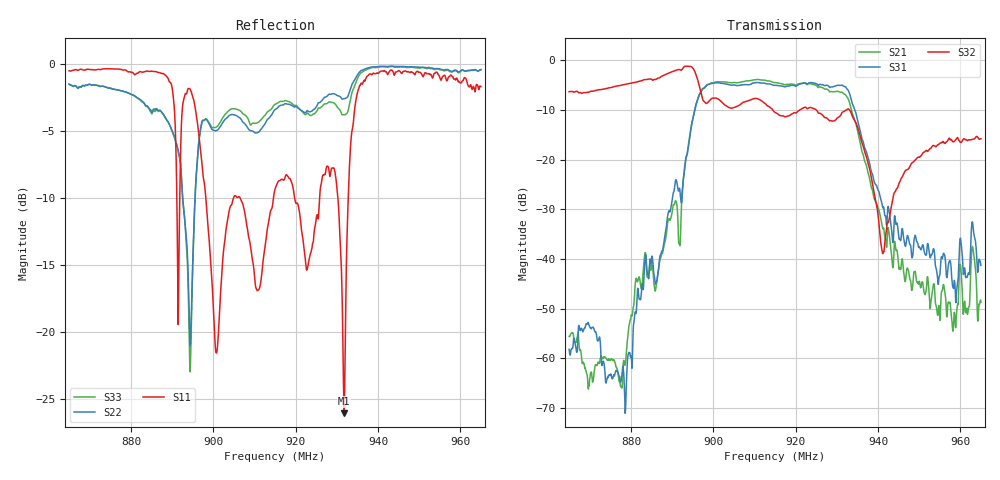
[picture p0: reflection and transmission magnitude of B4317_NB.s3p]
!EPCOS AG 16.05.2012 17:10:27
!Calibration: group1-4 06.03.2011
!NWA IDN: Rohde&Schwarz,ZVT8-4Port,1300000008100235,2.76
!NWA-Port 1: 78.0 ps , NWA-Port 2: 76.0 ps , NWA-Port 3: 76.0 ps ,
! port | pin | signal
!  1  |  1  |  IN
!  2  |  3  |  OUT
!  3  |  4  |  OUT
# Hz S RI R 50
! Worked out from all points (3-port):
!   1601 points, 865 MHz to 965 MHz, reference 50 ohm
!   strongest paths, dB at 865 MHz, 890 MHz, 915 MHz, 940 MHz, 965 MHz:
!     S32: -6.3, -2.3, -10.5, -30.9, -15.8
!     S31: -58.2, -28.3, -5.0, -26.1, -41.3
!     S21: -55.6, -30.7, -4.5, -29.6, -48.7
!   lowest |S11| = -26.0 dB at 931.8 MHz (marker M1), VSWR 1.10, Z = 45.3 - j0.462 ohm
!   |S11| at or under -10 dB: 898.2 MHz to 904.9 MHz (6.718 MHz wide, 0.745 % of centre); 906.5 MHz to 914.6 MHz (8.092 MHz wide, 0.889 % of centre); 919.8 MHz to 925.8 MHz (6.069 MHz wide, 0.658 % of centre) (the widest 3 of 5)
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8.65e8  -0.5453 -0.769  -0.00156 -0.000588  -0.000925 -0.000814
        -0.00155 -0.000592  0.5226 -0.6571  0.3866 0.2878
        -0.000932 -0.000806  0.387 0.2874  0.5346 -0.6487
8.775e8  -0.7493 -0.5909  -0.000528 -8.99e-05  -0.00034 -0.000472
         -0.000518 -9.39e-05  0.4309 -0.6676  0.4739 0.2965
         -0.00034 -0.00047  0.4744 0.2964  0.4432 -0.6598
8.915e8  0.1014 -0.0331  0.0157 0.011  -0.0253 -0.042
         0.0157 0.011  0.0712 -0.4694  0.8045 0.0591
         -0.0252 -0.042  0.8045 0.0589  0.0731 -0.4642
8.94375e8  -0.8037 0.0506  0.0597 0.1708  -0.0609 -0.1664
           0.0599 0.1708  0.0652 -0.0618  0.8275 -0.2602
           -0.0611 -0.1665  0.8276 -0.2609  0.0567 -0.0431
8.969375e8  -0.3101 0.3597  0.4642 -0.0844  -0.4742 0.0676
            0.4634 -0.0847  0.5726 -0.042  0.3508 -0.335
            -0.4742 0.0686  0.3509 -0.336  0.5691 0.00428
9.050625e8  -0.2121 -0.2399  -0.5972 -0.0294  0.5622 0.0413
            -0.5972 -0.0284  0.5649 -0.3127  0.3274 -0.0657
            0.5625 0.0403  0.3275 -0.0657  0.6116 -0.2984
9.15e8  0.2244 -0.2567  0.3382 0.4904  -0.3292 -0.4522
        0.3389 0.4898  0.6376 -0.2225  0.2675 -0.1321
        -0.33 -0.4518  0.2677 -0.1321  0.6556 -0.2637
9.318125e8  -0.0496 -0.00509  -0.4501 -0.0733  0.5404 0.0653
            -0.4502 -0.0728  0.7109 -0.213  0.2402 -0.1901
            0.5405 0.0646  0.2402 -0.1901  0.6232 -0.1725
9.41125e8  0.7575 -0.5576  0.00332 0.0204  -0.00577 -0.0332
           0.00333 0.0204  0.8937 -0.4001  0.0101 -0.00531
           -0.00583 -0.0332  0.0101 -0.0053  0.9043 -0.3654
9.65e8  0.2266 -0.7913  0.0034 0.00133  -0.00437 -0.00743
        0.00341 0.00134  0.7925 -0.5263  0.1061 0.1225
        -0.00438 -0.00743  0.106 0.1225  0.8065 -0.5062
